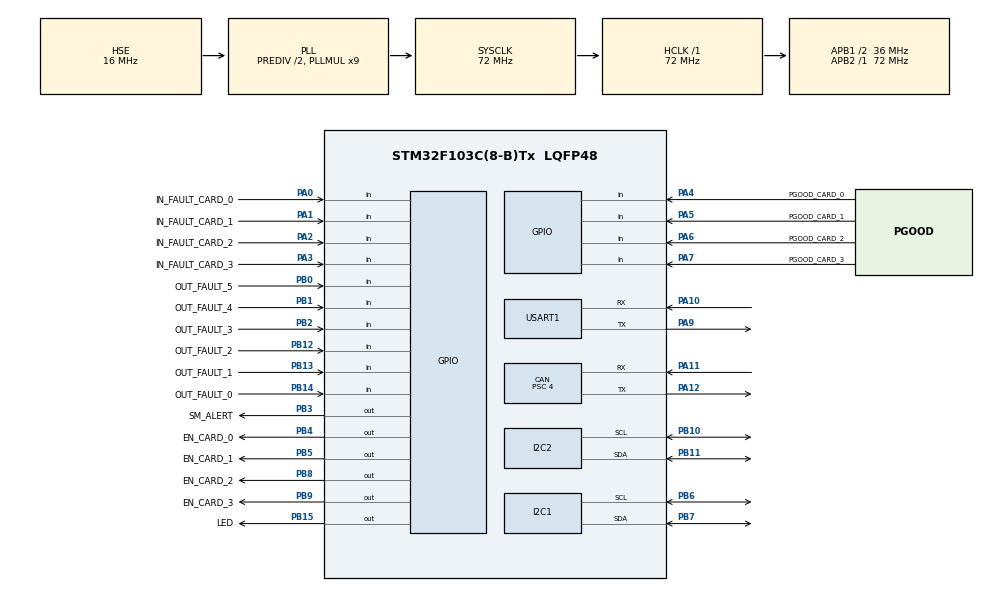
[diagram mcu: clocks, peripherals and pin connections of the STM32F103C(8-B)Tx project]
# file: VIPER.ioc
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CAN.BS1=CAN_BS1_15TQ
CAN.BS2=CAN_BS2_2TQ
CAN.CalculateBaudRate=500000
CAN.CalculateTimeBit=2000
CAN.CalculateTimeQuantum=111.11111111111111
CAN.NART=ENABLE
CAN.Prescaler=4
CAN.SJW=CAN_SJW_2TQ
FREERTOS.Tasks01=viperSuperLoop,24,128,superLoop,Default,NULL,Dynamic,NULL,NULL
IWDG.Prescaler=IWDG_PRESCALER_64
IWDG.Reload=1249
Mcu.Family=STM32F1
Mcu.Name=STM32F103C(8-B)Tx
Mcu.Package=LQFP48
NVIC.PriorityGroup=NVIC_PRIORITYGROUP_4
NVIC.TIM1_UP_IRQn=true\:15\:0\:false\:false\:true\:false\:false\:true\:true
NVIC.TimeBase=TIM1_UP_IRQn
NVIC.TimeBaseIP=TIM1
NVIC.USB_HP_CAN1_TX_IRQn=true\:5\:0\:false\:false\:true\:true\:true\:true\:true
NVIC.USB_LP_CAN1_RX0_IRQn=true\:5\:0\:false\:false\:true\:true\:true\:true\:true
PA0-WKUP.GPIO_Label=IN_FAULT_CARD_0
PA0-WKUP.Signal=GPIO_Input
PA1.GPIO_Label=IN_FAULT_CARD_1
PA1.Signal=GPIO_Input
PA10.Mode=Asynchronous
PA10.Signal=USART1_RX
PA11.Mode=CAN_Activate
PA11.Signal=CAN_RX
PA12.Mode=CAN_Activate
PA12.Signal=CAN_TX
PA13.Mode=Serial_Wire
PA13.Signal=SYS_JTMS-SWDIO
PA14.Mode=Serial_Wire
PA14.Signal=SYS_JTCK-SWCLK
PA2.GPIO_Label=IN_FAULT_CARD_2
PA2.Signal=GPIO_Input
PA3.GPIO_Label=IN_FAULT_CARD_3
PA3.Signal=GPIO_Input
PA4.GPIO_Label=PGOOD_CARD_0
PA4.Signal=GPIO_Input
PA5.GPIO_Label=PGOOD_CARD_1
PA5.Signal=GPIO_Input
PA6.GPIO_Label=PGOOD_CARD_2
PA6.Signal=GPIO_Input
PA7.GPIO_Label=PGOOD_CARD_3
PA7.Signal=GPIO_Input
PA9.Mode=Asynchronous
PA9.Signal=USART1_TX
PB0.GPIO_Label=OUT_FAULT_5
PB0.Signal=GPIO_Input
PB1.GPIO_Label=OUT_FAULT_4
PB1.Signal=GPIO_Input
PB10.Mode=I2C
PB10.Signal=I2C2_SCL
PB11.Mode=I2C
PB11.Signal=I2C2_SDA
PB12.GPIO_Label=OUT_FAULT_2
PB12.Signal=GPIO_Input
PB13.GPIO_Label=OUT_FAULT_1
PB13.Signal=GPIO_Input
PB14.GPIO_Label=OUT_FAULT_0
PB14.Signal=GPIO_Input
PB15.GPIO_Label=LED
PB15.Signal=GPIO_Output
PB2.GPIO_Label=OUT_FAULT_3
PB2.Signal=GPIO_Input
PB3.GPIO_Label=SM_ALERT
PB3.Signal=GPIO_Output
PB4.GPIO_Label=EN_CARD_0
PB4.Signal=GPIO_Output
PB5.GPIO_Label=EN_CARD_1
PB5.Signal=GPIO_Output
PB6.Mode=I2C
PB6.Signal=I2C1_SCL
PB7.Mode=I2C
PB7.Signal=I2C1_SDA
PB8.GPIO_Label=EN_CARD_2
PB8.Signal=GPIO_Output
PB9.GPIO_Label=EN_CARD_3
PB9.Signal=GPIO_Output
PD0-OSC_IN.Mode=HSE-External-Oscillator
PD0-OSC_IN.Signal=RCC_OSC_IN
PD1-OSC_OUT.Mode=HSE-External-Oscillator
PD1-OSC_OUT.Signal=RCC_OSC_OUT
ProjectManager.HeapSize=0x200
ProjectManager.StackSize=0x400
ProjectManager.TargetToolchain=STM32CubeIDE
RCC.AHBFreq_Value=72000000
RCC.APB1CLKDivider=RCC_HCLK_DIV2
RCC.APB1Freq_Value=36000000
RCC.APB1TimFreq_Value=72000000
RCC.APB2Freq_Value=72000000
RCC.APB2TimFreq_Value=72000000
RCC.HCLKFreq_Value=72000000
RCC.HSEDivPLL=RCC_HSE_PREDIV_DIV2
RCC.HSE_VALUE=16000000
RCC.PLLMUL=RCC_PLL_MUL9
RCC.PLLSourceVirtual=RCC_PLLSOURCE_HSE
RCC.SYSCLKFreq_VALUE=72000000
RCC.SYSCLKSource=RCC_SYSCLKSOURCE_PLLCLK
RCC.USBFreq_Value=72000000
USART1.VirtualMode=VM_ASYNC
VP_FREERTOS_VS_CMSIS_V2.Mode=CMSIS_V2
VP_IWDG_VS_IWDG.Mode=IWDG_Activate
VP_SYS_VS_tim1.Mode=TIM1
board=custom

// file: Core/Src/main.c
/* USER CODE BEGIN Header */
/**
  ******************************************************************************
  * @file           : main.c
  * @brief          : Main program body
  ******************************************************************************
  * @attention
  *
  * Copyright (c) 2026 STMicroelectronics.
  * All rights reserved.
  *
  * This software is licensed under terms that can be found in the LICENSE file
  * in the root directory of this software component.
  * If no LICENSE file comes with this software, it is provided AS-IS.
  *
  ******************************************************************************
  */
/* USER CODE END Header */
#include "main.h"
#include "cmsis_os.h"
#include "can.h"
#include "i2c.h"
#include "iwdg.h"
#include "usart.h"
#include "gpio.h"

/* USER CODE BEGIN Includes */
#include "viper_app.h"

#include "at24c04c.h"
#include "enc_dec_utils.h"
#include "ina238.h"
#include "tca.h"
#include "tmp.h"
#include "viper_mcp3221.h"
/* USER CODE END Includes */

/* USER CODE BEGIN PV */
VIPER_STATE_TypeDef viper_state;
VIPER_PARAMS_TypeDef viper_params;

volatile uint8_t ESTOP = 0;
uint8_t FREEZE = 0;

uint8_t read_complete = 0;
uint8_t send_complete = 0;
/* USER CODE END PV */

void SystemClock_Config(void);
void MX_FREERTOS_Init(void);

int main(void)
{

  /* USER CODE BEGIN 1 */
	// ##############
	// todo: SET DEFAULT VIPER PARAMS HERE
	viper_params.VIPER_ID = 0x01;
	viper_params.HEALTH_INTERVAL = 1000; //every second
	viper_params.CARD_INTERVAL = 1000; // may need to tune this

	viper_state.STATE = VIPER_STATE_ACTIVE;
  /* USER CODE END 1 */

  /* MCU Configuration--------------------------------------------------------*/

  /* Reset of all peripherals, Initializes the Flash interface and the Systick. */
  HAL_Init();

  /* Configure the system clock */
  SystemClock_Config();

  /* USER CODE BEGIN 2 */
  // ##############
  /* Initialize all configured peripherals */
  MX_GPIO_Init();
  MX_CAN_Init();
  MX_I2C1_Init();
  MX_I2C2_Init();
  MX_USART1_UART_Init();
  MX_IWDG_Init();

	// ##############
	// SET DRIVER INITIALIZATIONS HERE
  MX_AT24C04C_1_Init();
	MX_TMP_1075_Init();
	MX_TMP_100_Init();
	MX_MCP_3221_Init();
	MX_INA_238_Init();
	MX_TCA_Init();

  // ##############
  // MAIN INIT and BROADCAST HEALTH MESSAGE
  viper_mainInit();

  /* USER CODE END 2 */

  /* Init scheduler */
  osKernelInitialize();  /* Call init function for freertos objects (in cmsis_os2.c) */
  MX_FREERTOS_Init();

  /* Start scheduler */
  osKernelStart();

  /* We should never get here as control is now taken by the scheduler */

  /* Infinite loop */
  while (1)
  {

  }
}

void SystemClock_Config(void)
{
  RCC_OscInitTypeDef RCC_OscInitStruct = {0};
  RCC_ClkInitTypeDef RCC_ClkInitStruct = {0};

  /** Initializes the RCC Oscillators according to the specified parameters
  * in the RCC_OscInitTypeDef structure.
  */
  RCC_OscInitStruct.OscillatorType = RCC_OSCILLATORTYPE_LSI|RCC_OSCILLATORTYPE_HSE;
  RCC_OscInitStruct.HSEState = RCC_HSE_ON;
  RCC_OscInitStruct.HSEPredivValue = RCC_HSE_PREDIV_DIV2;
  RCC_OscInitStruct.HSIState = RCC_HSI_ON;
  RCC_OscInitStruct.LSIState = RCC_LSI_ON;
  RCC_OscInitStruct.PLL.PLLState = RCC_PLL_ON;
  RCC_OscInitStruct.PLL.PLLSource = RCC_PLLSOURCE_HSE;
  RCC_OscInitStruct.PLL.PLLMUL = RCC_PLL_MUL9;
  if (HAL_RCC_OscConfig(&RCC_OscInitStruct) != HAL_OK)
  {
    Error_Handler();
  }

  /** Initializes the CPU, AHB and APB buses clocks
  */
  RCC_ClkInitStruct.ClockType = RCC_CLOCKTYPE_HCLK|RCC_CLOCKTYPE_SYSCLK
                              |RCC_CLOCKTYPE_PCLK1|RCC_CLOCKTYPE_PCLK2;
  RCC_ClkInitStruct.SYSCLKSource = RCC_SYSCLKSOURCE_PLLCLK;
  RCC_ClkInitStruct.AHBCLKDivider = RCC_SYSCLK_DIV1;
  RCC_ClkInitStruct.APB1CLKDivider = RCC_HCLK_DIV2;
  RCC_ClkInitStruct.APB2CLKDivider = RCC_HCLK_DIV1;

  if (HAL_RCC_ClockConfig(&RCC_ClkInitStruct, FLASH_LATENCY_2) != HAL_OK)
  {
    Error_Handler();
  }
}

void HAL_TIM_PeriodElapsedCallback(TIM_HandleTypeDef *htim)
{
  if (htim->Instance == TIM1)
  {
    HAL_IncTick();
  }
}

void Error_Handler(void)
{
  __disable_irq();
  while (1)
  {
  }
}

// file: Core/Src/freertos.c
/* USER CODE BEGIN Header */
/**
  ******************************************************************************
  * File Name          : freertos.c
  * Description        : Code for freertos applications
  ******************************************************************************
  * @attention
  *
  * Copyright (c) 2026 STMicroelectronics.
  * All rights reserved.
  *
  * This software is licensed under terms that can be found in the LICENSE file
  * in the root directory of this software component.
  * If no LICENSE file comes with this software, it is provided AS-IS.
  *
  ******************************************************************************
  */
/* USER CODE END Header */

#include "FreeRTOS.h"
#include "task.h"
#include "main.h"
#include "cmsis_os.h"

/* USER CODE BEGIN Includes */
#include "rtos_objects.h"
#include "viper_app.h"
#include "task_eeprom_write.h"

/* USER CODE END Includes */

/* USER CODE BEGIN Variables */
BaseType_t xReturned;
TaskHandle_t  EepromTaskHandle = NULL;
/* USER CODE END Variables */
/* Definitions for defaultTask */
osThreadId_t viperSuperLoopHandle;
const osThreadAttr_t viperSuperLoopTask_attributes = {
  .name = "viperSuperLoop",
  .stack_size = 128 * 4,
  .priority = (osPriority_t) osPriorityNormal,
};

void superLoop(void *argument);

void MX_FREERTOS_Init(void); /* (MISRA C 2004 rule 8.1) */

void MX_FREERTOS_Init(void) {
  /* USER CODE BEGIN Init */
  RTOS_Objects_Init();

  /* USER CODE END Init */

  /* Create the thread(s) */
  /* creation of defaultTask */
  viperSuperLoopHandle = osThreadNew(superLoop, NULL, &viperSuperLoopTask_attributes);

  /* USER CODE BEGIN RTOS_THREADS */
  /* add threads, ... */
  xReturned = xTaskCreate(vEepromWrite, "EepromWriteTask", configMINIMAL_STACK_SIZE + 512, (void*)1, (UBaseType_t)osPriorityNormal, &EepromTaskHandle);
  /* USER CODE END RTOS_THREADS */

}

void superLoop(void *argument)
{
  /* USER CODE BEGIN StartDefaultTask */
  /* Infinite loop */
  // ESTOP --> DISABLE --> FREEZE -> ACTIVE
  viper_superLoop();
  for(;;){}
  /* USER CODE END StartDefaultTask */
}
